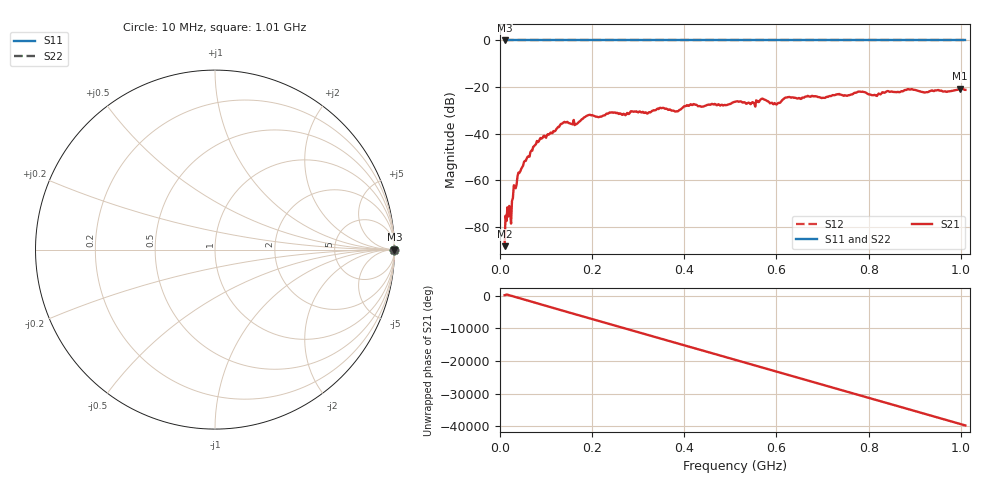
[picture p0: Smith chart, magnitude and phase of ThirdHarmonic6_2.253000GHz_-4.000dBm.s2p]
! 8/17/2025 2:43:20 AM
! C:\ANRITSUVNA\TEMP\TEMP.S2P
! CHANNEL.1
! TR.MEASUREMENT
! RAW.DATA
! RF.CORRECTION.OFF
! AVERAGING.OFF
! IF.BANDWIDTH: 5KHZ
! SWEEPTYPE:  FREQ.SWEEP(Linear)
! Reference Plane Port Info
! PORT:  PORT1  PORT2
! DISTANCE:  0  m  0  m
! TIME:  0  s  0  s
! PHASE.OFFSET:  0  deg.  0  deg.
! LOSS:  0  dB  0  dB
! REF.LOSS:  0  dB  0  dB
! REF.FREQ:  0  Hz  0  Hz
! Power Info
! POWER:  -20  dBm  -20  dBm
! EFF.POWER:  -20  dBm  -20  dBm
! SOURCE.ATTEN:  0  dB  0  dB
! TEST.ATTEN:  0  dB  0  dB
# GHZ S RI R 50.0
! FREQ.GHZ  S11RE  S11IM  S21RE  S21IM  S12RE  S12IM  S22RE  S22IM
!; PortSelection: Port_12
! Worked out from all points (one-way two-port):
!   501 points, 10 MHz to 1.01 GHz, reference 50 ohm
!   highest |S21| = -20.72 dB at 998 MHz (marker M1); lowest = -88.4 dB at 10 MHz (marker M2)
!   lowest |S11| = 0.0 dB at 10 MHz (marker M3)
!   |S11| at or under -10 dB: nowhere
!   |S22| runs from 0.0 to 0.0 dB; largest |S21 - S12| = 1.1
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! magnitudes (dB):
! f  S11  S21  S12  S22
! 10 MHz  0.0  -88.4  0.0  0.0
! 16 MHz  0.0  -71.7  0.0  0.0
! 22 MHz  0.0  -73.9  0.0  0.0
! 30 MHz  0.0  -62.2  0.0  0.0
! 42 MHz  0.0  -57.0  0.0  0.0
! 76 MHz  0.0  -45.0  0.0  0.0
! 136 MHz  0.0  -35.6  0.0  0.0
! 166 MHz  0.0  -36.0  0.0  0.0
! 178 MHz  0.0  -33.8  0.0  0.0
! 192 MHz  0.0  -32.1  0.0  0.0
! 344 MHz  0.0  -29.5  0.0  0.0
! 384 MHz  0.0  -30.4  0.0  0.0
! 416 MHz  0.0  -27.7  0.0  0.0
! 510 MHz  0.0  -26.4  0.0  0.0
! 550 MHz  0.0  -26.7  0.0  0.0
! 570 MHz  0.0  -25.0  0.0  0.0
! 598 MHz  0.0  -27.3  0.0  0.0
! 624 MHz  0.0  -24.4  0.0  0.0
! 678 MHz  0.0  -23.8  0.0  0.0
! 844 MHz  0.0  -21.9  0.0  0.0
! 998 MHz  0.0  -20.7  0.0  0.0
! 1.01 GHz  0.0  -21.2  0.0  0.0
